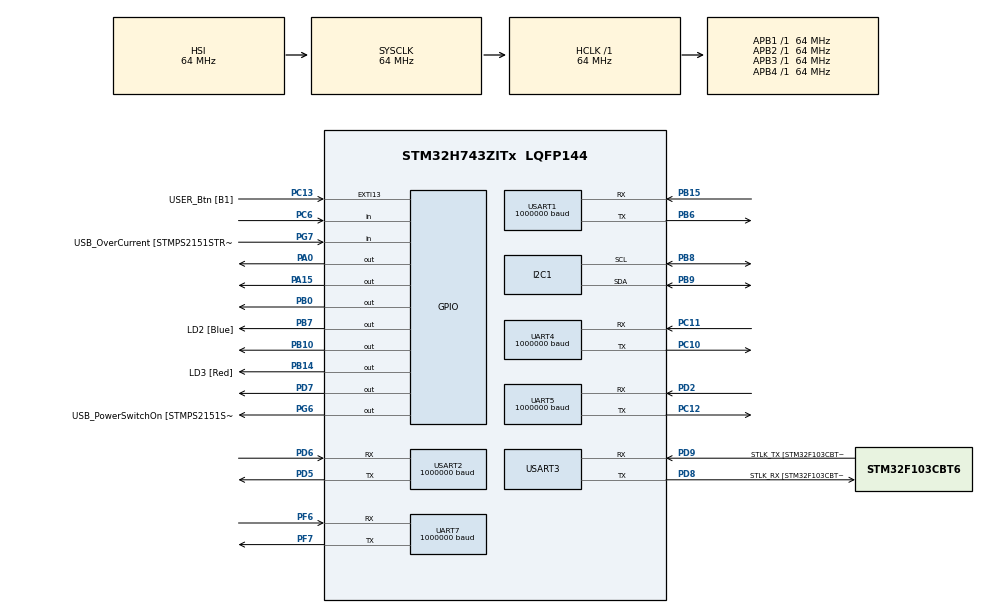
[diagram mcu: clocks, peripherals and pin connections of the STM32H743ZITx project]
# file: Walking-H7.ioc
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Mcu.Family=STM32H7
Mcu.Name=STM32H743ZITx
Mcu.Package=LQFP144
NVIC.PriorityGroup=NVIC_PRIORITYGROUP_4
PA0-WKUP.GPIO_Speed=GPIO_SPEED_FREQ_VERY_HIGH
PA0-WKUP.PinState=GPIO_PIN_SET
PA0-WKUP.Signal=GPIO_Output
PA10.GPIO_Label=USB_ID
PA10.Signal=USB_OTG_FS_ID
PA11.GPIO_Label=USB_DM
PA11.Signal=USB_OTG_FS_DM
PA12.GPIO_Label=USB_DP
PA12.Signal=USB_OTG_FS_DP
PA13.GPIO_Label=TMS
PA13.Mode=Trace_Asynchronous_SW
PA13.Signal=SYS_JTMS-SWDIO
PA14.GPIO_Label=TCK
PA14.Mode=Trace_Asynchronous_SW
PA14.Signal=SYS_JTCK-SWCLK
PA15.GPIO_Speed=GPIO_SPEED_FREQ_VERY_HIGH
PA15.PinState=GPIO_PIN_SET
PA15.Signal=GPIO_Output
PA8.GPIO_Label=USB_SOF [TP1]
PA8.Signal=USB_OTG_FS_SOF
PA9.GPIO_Label=USB_VBUS
PA9.Signal=USB_OTG_FS_VBUS
PB0.GPIO_Speed=GPIO_SPEED_FREQ_VERY_HIGH
PB0.Signal=GPIO_Output
PB10.GPIO_Speed=GPIO_SPEED_FREQ_VERY_HIGH
PB10.Signal=GPIO_Output
PB14.GPIO_Label=LD3 [Red]
PB14.Signal=GPIO_Output
PB15.Mode=Asynchronous
PB15.Signal=USART1_RX
PB3.GPIO_Label=SWO
PB3.Mode=Trace_Asynchronous_SW
PB3.Signal=SYS_JTDO-SWO
PB6.Mode=Asynchronous
PB6.Signal=USART1_TX
PB7.GPIO_Label=LD2 [Blue]
PB7.Signal=GPIO_Output
PB8.Mode=I2C
PB8.Signal=I2C1_SCL
PB9.Mode=I2C
PB9.Signal=I2C1_SDA
PC10.Mode=Asynchronous
PC10.Signal=UART4_TX
PC11.Mode=Asynchronous
PC11.Signal=UART4_RX
PC12.Mode=Asynchronous
PC12.Signal=UART5_TX
PC13.GPIO_Label=USER_Btn [B1]
PC13.Signal=GPXTI13
PC14-OSC32_IN.Signal=RCC_OSC32_IN
PC15-OSC32_OUT.Signal=RCC_OSC32_OUT
PC6.Signal=GPIO_Input
PD2.Mode=Asynchronous
PD2.Signal=UART5_RX
PD5.Mode=Asynchronous
PD5.Signal=USART2_TX
PD6.Mode=Asynchronous
PD6.Signal=USART2_RX
PD7.GPIO_Speed=GPIO_SPEED_FREQ_VERY_HIGH
PD7.Signal=GPIO_Output
PD8.GPIO_Label=STLK_RX [STM32F103CBT6_PA3]
PD8.Mode=Asynchronous
PD8.Signal=USART3_TX
PD9.GPIO_Label=STLK_TX [STM32F103CBT6_PA2]
PD9.Mode=Asynchronous
PD9.Signal=USART3_RX
PF6.Mode=Asynchronous
PF6.Signal=UART7_RX
PF7.Mode=Asynchronous
PF7.Signal=UART7_TX
PG6.GPIO_Label=USB_PowerSwitchOn [STMPS2151STR_EN]
PG6.Signal=GPIO_Output
PG7.GPIO_Label=USB_OverCurrent [STMPS2151STR_FAULT]
PG7.Signal=GPIO_Input
PH0-OSC_IN.GPIO_Label=MCO
PH0-OSC_IN.Signal=RCC_OSC_IN
PH1-OSC_OUT.Signal=RCC_OSC_OUT
ProjectManager.HeapSize=0x200
ProjectManager.StackSize=0x400
ProjectManager.TargetToolchain=SW4STM32
RCC.48MHZClocksFreq_Value=24000000
RCC.ADCFreq_Value=129000000
RCC.AHBFreq_Value=16000000
RCC.APB1CLKDivider=RCC_HCLK_DIV2
RCC.APB1Freq_Value=64000000
RCC.APB1TimFreq_Value=16000000
RCC.APB2Freq_Value=64000000
RCC.APB2TimFreq_Value=16000000
RCC.APB3Freq_Value=64000000
RCC.APB4Freq_Value=64000000
RCC.CortexFreq_Value=64000000
RCC.HCLKFreq_Value=64000000
RCC.HSE_VALUE=25000000
RCC.HSI_VALUE=64000000
RCC.LSE_VALUE=32768
RCC.PLLMUL=RCC_PLL_MUL9
RCC.PRESCALERUSB=RCC_USBCLKSOURCE_PLL_DIV1_5
RCC.SYSCLKFreq_VALUE=64000000
RCC.SYSCLKSourceVirtual=RCC_SYSCLKSOURCE_PLLCLK
RCC.USBFreq_Value=129000000
RCC.VCOOutputFreq_Value=192000000
UART4.BaudRate=1000000
UART4.WordLength=WORDLENGTH_8B
UART5.BaudRate=1000000
UART5.WordLength=WORDLENGTH_8B
UART7.BaudRate=1000000
UART7.WordLength=WORDLENGTH_8B
USART1.BaudRate=1000000
USART1.VirtualMode-Asynchronous=VM_ASYNC
USART1.WordLength=WORDLENGTH_8B
USART2.BaudRate=1000000
USART2.VirtualMode-Asynchronous=VM_ASYNC
USART2.WordLength=WORDLENGTH_8B
USART3.VirtualMode-Asynchronous=VM_ASYNC
USART3.WordLength=WORDLENGTH_8B
board=NUCLEO-H743ZI

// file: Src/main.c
/**
  ******************************************************************************
  * File Name          : main.c
  * Description        : Main program body
  ******************************************************************************
  ** This notice applies to any and all portions of this file
  * that are not between comment pairs USER CODE BEGIN and
  * USER CODE END. Other portions of this file, whether
  * inserted by the user or by software development tools
  * are owned by their respective copyright owners.
  *
  * COPYRIGHT(c) 2018 STMicroelectronics
  *
  * Redistribution and use in source and binary forms, with or without modification,
  * are permitted provided that the following conditions are met:
  *   1. Redistributions of source code must retain the above copyright notice,
  *      this list of conditions and the following disclaimer.
  *   2. Redistributions in binary form must reproduce the above copyright notice,
  *      this list of conditions and the following disclaimer in the documentation
  *      and/or other materials provided with the distribution.
  *   3. Neither the name of STMicroelectronics nor the names of its contributors
  *      may be used to endorse or promote products derived from this software
  *      without specific prior written permission.
  *
  * THIS SOFTWARE IS PROVIDED BY THE COPYRIGHT HOLDERS AND CONTRIBUTORS "AS IS"
  * AND ANY EXPRESS OR IMPLIED WARRANTIES, INCLUDING, BUT NOT LIMITED TO, THE
  * IMPLIED WARRANTIES OF MERCHANTABILITY AND FITNESS FOR A PARTICULAR PURPOSE ARE
  * DISCLAIMED. IN NO EVENT SHALL THE COPYRIGHT HOLDER OR CONTRIBUTORS BE LIABLE
  * FOR ANY DIRECT, INDIRECT, INCIDENTAL, SPECIAL, EXEMPLARY, OR CONSEQUENTIAL
  * DAMAGES (INCLUDING, BUT NOT LIMITED TO, PROCUREMENT OF SUBSTITUTE GOODS OR
  * SERVICES; LOSS OF USE, DATA, OR PROFITS; OR BUSINESS INTERRUPTION) HOWEVER
  * CAUSED AND ON ANY THEORY OF LIABILITY, WHETHER IN CONTRACT, STRICT LIABILITY,
  * OR TORT (INCLUDING NEGLIGENCE OR OTHERWISE) ARISING IN ANY WAY OUT OF THE USE
  * OF THIS SOFTWARE, EVEN IF ADVISED OF THE POSSIBILITY OF SUCH DAMAGE.
  *
  ******************************************************************************
  */

#include "main.h"
#include "stm32h7xx_hal.h"
#include "i2c.h"
#include "usart.h"
#include "gpio.h"

/* USER CODE BEGIN Includes */
/* Motor driver. */
#include "../../Dynamixel_AX-12A_Driver/src/Dynamixel_AX-12A.h"
#include "../../Dynamixel_AX-12A_Driver/src/Dynamixel_AX-12A.c"
#include <stdio.h>

/* Motor Angles. */
#include "../../../../control/soccer-control/angles.h"

#include "MPU6050.h"
/* USER CODE END Includes */

/* USER CODE BEGIN PV */
/* Private variables ---------------------------------------------------------*/
extern const double MOTORANGLES[DIM][SIZE];
//const double MOTORANGLES[12][1001] = {
//		{//1
//				0.044595,0.033301,0.022335,0.011681,0.001322,-0.0087571,-0.018571,-0.028134,-0.03746,-0.046561,-0.05545,-0.064137,-0.072634,-0.08095,-0.089097,-0.097082,-0.10491,-0.1126,-0.12015,-0.12757,-0.13487,-0.14205,-0.14913,-0.15609,-0.16296,-0.16973,-0.17642,-0.18302,-0.18953,-0.19597,-0.20234,-0.20863,-0.21486,-0.22103,-0.22713,-0.23318,-0.23916,-0.2451,-0.25098,-0.25682,-0.2626,-0.26802,-0.27311,-0.27787,-0.28234,-0.28653,-0.29045,-0.29414,-0.29759,-0.30083,-0.30387,-0.30673,-0.3094,-0.31191,-0.31427,-0.31649,-0.31856,-0.32051,-0.32234,-0.32406,-0.32568,-0.32719,-0.32861,-0.32995,-0.33121,-0.33239,-0.33349,-0.33453,-0.33551,-0.33643,-0.33729,-0.3381,-0.33886,-0.33958,-0.34025,-0.34088,-0.34147,-0.34203,-0.34255,-0.34304,-0.34351,-0.34394,-0.34435,-0.34473,-0.34509,-0.34543,-0.34575,-0.34605,-0.34633,-0.34659,-0.33166,-0.31717,-0.30312,-0.28948,-0.27624,-0.26338,-0.2509,-0.23876,-0.22697,-0.2155,-0.20433,-0.19346,-0.18287,-0.17255,-0.16248,-0.15265,-0.14304,-0.13366,-0.12448,-0.11549,-0.10669,-0.098061,-0.089599,-0.081294,-0.073138,-0.065122,-0.057238,-0.049481,-0.041843,-0.034317,-0.026899,-0.019581,-0.012359,-0.0052278,0.0018175,0.0087814,0.015668,0.022482,0.029225,0.035903,0.042518,0.049074,0.055573,0.062017,0.068411,0.074755,0.081052,0.087304,0.093514,0.099682,0.10581,0.11157,0.11697,0.12204,0.1268,0.13127,0.13547,0.13941,0.14311,0.14659,0.14985,0.15329,0.15728,0.16179,0.16681,0.17233,0.17835,0.18485,0.19182,0.19923,0.20707,0.21528,0.22382,0.23262,0.24159,0.25064,0.25964,0.26845,0.27692,0.28488,0.29216,0.29859,0.30402,0.30831,0.31135,0.31307,0.31344,0.31249,0.31026,0.30685,0.30239,0.29702,0.29092,0.28424,0.27717,0.26985,0.26243,0.25505,0.24782,0.24084,0.21473,0.19066,0.16853,0.14823,0.12961,0.11252,0.096813,0.082326,0.0689,0.056376
//		},
//		{//2
//	0.38545,0.39119,0.39712,0.40322,0.40949,0.41591,0.42247,0.42916,0.43597,0.44289,0.44991,0.45701,0.4642,0.47146,0.47878,0.48615,0.49357,0.50102,0.5085,0.51601,0.52353,0.53106,0.53858,0.54611,0.55362,0.56112,0.56859,0.57604,0.58345,0.59082,0.59815,0.60543,0.61266,0.61983,0.62694,0.63398,0.64096,0.64785,0.65468,0.66142,0.66807,0.67422,0.67991,0.68516,0.69002,0.69452,0.69869,0.70256,0.70614,0.70946,0.71255,0.71542,0.71808,0.72056,0.72286,0.725,0.727,0.72886,0.73059,0.73221,0.73371,0.73512,0.73643,0.73766,0.7388,0.73987,0.74087,0.7418,0.74268,0.7435,0.74426,0.74498,0.74565,0.74627,0.74686,0.74741,0.74793,0.74841,0.74886,0.74929,0.74969,0.75006,0.75041,0.75074,0.75105,0.75134,0.75161,0.75186,0.7521,0.75232,0.75932,0.76618,0.77294,0.77963,0.78626,0.79285,0.79941,0.80595,0.81248,0.819,0.82551,0.83202,0.83853,0.84504,0.85153,0.85802,0.8645,0.87096,0.8774,0.88381,0.8902,0.89656,0.90288,0.90915,0.91538,0.92156,0.92768,0.93374,0.93973,0.94566,0.95151,0.95727,0.96296,0.96856,0.97407,0.97948,0.98479,0.99,0.9951,1.0001,1.005,1.0097,1.0144,1.0189,1.0233,1.0276,1.0317,1.0357,1.0396,1.0433,1.0469,1.0501,1.053,1.0556,1.058,1.0601,1.062,1.0637,1.0653,1.0667,1.068,1.0722,1.0821,1.0966,1.1149,1.1361,1.1593,1.1838,1.2087,1.2334,1.2572,1.2796,1.2999,1.3178,1.3325,1.3438,1.3511,1.354,1.3521,1.3453,1.3333,1.316,1.2936,1.2663,1.2345,1.1987,1.1596,1.1178,1.074,1.029,0.98328,0.93749,0.892,0.84716,0.80318,0.76022,0.71841,0.6778,0.63846,0.60045,0.56616,0.53385,0.50368,0.4759,0.45083,0.42887,0.41051,0.39633,0.38697,0.38311
//		},
//		{//3
//				-1.4042,-1.4083,-1.4122,-1.416,-1.4197,-1.4232,-1.4266,-1.4299,-1.4331,-1.4361,-1.439,-1.4418,-1.4445,-1.447,-1.4494,-1.4517,-1.4538,-1.4558,-1.4576,-1.4594,-1.4609,-1.4624,-1.4636,-1.4648,-1.4657,-1.4665,-1.4672,-1.4677,-1.468,-1.4682,-1.4682,-1.468,-1.4677,-1.4672,-1.4665,-1.4657,-1.4646,-1.4634,-1.462,-1.4605,-1.4587,-1.4569,-1.455,-1.453,-1.4511,-1.4492,-1.4472,-1.4453,-1.4435,-1.4417,-1.4399,-1.4382,-1.4365,-1.4349,-1.4333,-1.4318,-1.4304,-1.429,-1.4277,-1.4265,-1.4253,-1.4241,-1.4231,-1.422,-1.421,-1.4201,-1.4192,-1.4184,-1.4176,-1.4168,-1.4161,-1.4154,-1.4148,-1.4142,-1.4136,-1.4131,-1.4126,-1.4121,-1.4116,-1.4112,-1.4108,-1.4104,-1.41,-1.4097,-1.4094,-1.4091,-1.4088,-1.4085,-1.4083,-1.408,-1.4204,-1.4316,-1.4419,-1.4513,-1.4599,-1.4677,-1.4748,-1.4813,-1.4871,-1.4925,-1.4973,-1.5016,-1.5055,-1.5089,-1.5119,-1.5146,-1.5168,-1.5188,-1.5204,-1.5216,-1.5226,-1.5232,-1.5236,-1.5237,-1.5235,-1.523,-1.5222,-1.5212,-1.52,-1.5185,-1.5168,-1.5148,-1.5125,-1.5101,-1.5074,-1.5045,-1.5013,-1.4979,-1.4943,-1.4905,-1.4864,-1.4822,-1.4777,-1.473,-1.468,-1.4629,-1.4575,-1.4519,-1.4461,-1.4401,-1.4339,-1.4278,-1.4219,-1.4163,-1.4108,-1.4056,-1.4005,-1.3957,-1.3911,-1.3866,-1.3824,-1.3844,-1.3975,-1.4203,-1.4511,-1.4885,-1.531,-1.5773,-1.6263,-1.6769,-1.7282,-1.7796,-1.8302,-1.8796,-1.9272,-1.9725,-2.0151,-2.0545,-2.0904,-2.1225,-2.1503,-2.1736,-2.1921,-2.2055,-2.2137,-2.2166,-2.2142,-2.2063,-2.1932,-2.1749,-2.1518,-2.124,-2.0918,-2.0556,-2.0157,-1.9725,-1.9264,-1.8779,-1.8273,-1.7753,-1.7291,-1.6821,-1.6351,-1.5893,-1.5456,-1.5052,-1.4696,-1.4402,-1.4184,-1.4059
//		},
//		{//4
//				1.0187,1.0171,1.0151,1.0128,1.0102,1.0073,1.0042,1.0008,0.99711,0.99322,0.98912,0.98479,0.98027,0.97554,0.97062,0.96551,0.96023,0.95477,0.94915,0.94336,0.93741,0.93131,0.92505,0.91865,0.91211,0.90543,0.89862,0.89167,0.88459,0.87739,0.87006,0.86262,0.85505,0.84738,0.83959,0.83169,0.82368,0.81557,0.80735,0.79904,0.79063,0.78264,0.77506,0.76788,0.76108,0.75464,0.74855,0.74279,0.73734,0.7322,0.72734,0.72275,0.71842,0.71433,0.71048,0.70684,0.70342,0.70018,0.69714,0.69427,0.69157,0.68902,0.68662,0.68436,0.68223,0.68023,0.67834,0.67657,0.6749,0.67332,0.67184,0.67045,0.66914,0.66791,0.66675,0.66565,0.66463,0.66366,0.66275,0.6619,0.66109,0.66034,0.65963,0.65896,0.65833,0.65774,0.65718,0.65666,0.65617,0.6557,0.66105,0.66545,0.66897,0.67167,0.6736,0.67482,0.67537,0.67531,0.67465,0.67346,0.67175,0.66956,0.66692,0.66386,0.66039,0.65655,0.65235,0.64781,0.64296,0.63781,0.63237,0.62667,0.62071,0.6145,0.60807,0.60142,0.59456,0.5875,0.58026,0.57284,0.56524,0.55749,0.54958,0.54152,0.53332,0.52498,0.51652,0.50793,0.49922,0.4904,0.48147,0.47243,0.46329,0.45406,0.44473,0.43532,0.42581,0.41622,0.40655,0.3968,0.38698,0.37769,0.36893,0.36065,0.35284,0.34547,0.33851,0.33196,0.32577,0.31994,0.31445,0.31213,0.31542,0.32366,0.33621,0.35241,0.3717,0.39357,0.41763,0.44354,0.47106,0.50002,0.5303,0.56186,0.59466,0.62871,0.66401,0.70056,0.73832,0.7772,0.81704,0.85757,0.89845,0.93919,0.97923,1.0179,1.0546,1.0886,1.1192,1.146,1.1685,1.1865,1.1998,1.2084,1.2125,1.2123,1.208,1.2001,1.1888,1.1748,1.1629,1.1482,1.1315,1.1134,1.0947,1.0764,1.0591,1.0438,1.0314,1.0228
//		},
//		{//5
//				-0.044595,-0.033301,-0.022335,-0.011681,-0.001322,0.0087571,0.018571,0.028134,0.03746,0.046561,0.05545,0.064137,0.072634,0.08095,0.089097,0.097082,0.10491,0.1126,0.12015,0.12757,0.13487,0.14205,0.14913,0.15609,0.16296,0.16973,0.17642,0.18302,0.18953,0.19597,0.20234,0.20863,0.21486,0.22103,0.22713,0.23318,0.23916,0.2451,0.25098,0.25682,0.2626,0.26802,0.27311,0.27787,0.28234,0.28653,0.29045,0.29414,0.29759,0.30083,0.30387,0.30673,0.3094,0.31191,0.31427,0.31649,0.31856,0.32051,0.32234,0.32406,0.32568,0.32719,0.32861,0.32995,0.33121,0.33239,0.33349,0.33453,0.33551,0.33643,0.33729,0.3381,0.33886,0.33958,0.34025,0.34088,0.34147,0.34203,0.34255,0.34304,0.34351,0.34394,0.34435,0.34473,0.34509,0.34543,0.34575,0.34605,0.34633,0.34659,0.33166,0.31717,0.30312,0.28948,0.27624,0.26338,0.2509,0.23876,0.22697,0.2155,0.20433,0.19346,0.18287,0.17255,0.16248,0.15265,0.14304,0.13366,0.12448,0.11549,0.10669,0.098061,0.089599,0.081294,0.073138,0.065122,0.057238,0.049481,0.041843,0.034317,0.026899,0.019581,0.012359,0.0052278,-0.0018175,-0.0087814,-0.015668,-0.022482,-0.029225,-0.035903,-0.042518,-0.049074,-0.055573,-0.062017,-0.068411,-0.074755,-0.081052,-0.087304,-0.093514,-0.099682,-0.10581,-0.11157,-0.11697,-0.12204,-0.1268,-0.13127,-0.13547,-0.13941,-0.14311,-0.14659,-0.14985,-0.15329,-0.15728,-0.16179,-0.16681,-0.17233,-0.17835,-0.18485,-0.19182,-0.19923,-0.20707,-0.21528,-0.22382,-0.23262,-0.24159,-0.25064,-0.25964,-0.26845,-0.27692,-0.28488,-0.29216,-0.29859,-0.30402,-0.30831,-0.31135,-0.31307,-0.31344,-0.31249,-0.31026,-0.30685,-0.30239,-0.29702,-0.29092,-0.28424,-0.27717,-0.26985,-0.26243,-0.25505,-0.24782,-0.24084,-0.21473,-0.19066,-0.16853,-0.14823,-0.12961,-0.11252,-0.096813,-0.082326,-0.0689,-0.056376
//		},
//		{//6
//				0,0,0,0,0,0,0,0,0,0,0,0,0,0,0,0,0,0,0,0,0,0,0,0,0,0,0,0,0,0,0,0,0,0,0,0,0,0,0,0,0,0,0,0,0,0,0,0,0,0,0,0,0,0,0,0,0,0,0,0,0,0,0,0,0,0,0,0,0,0,0,0,0,0,0,0,0,0,0,0,0,0,0,0,0,0,0,0,0,0,0,0,0,0,0,0,0,0,0,0,0,0,0,0,0,0,0,0,0,0,0,0,0,0,0,0,0,0,0,0,0,0,0,0,0,0,0,0,0,0,0,0,0,0,0,0,0,0,0,0,0,0,0,0,0,0,0,0,0,0,0,0,0,0,0,0,0,0,0,0,0,0,0,0,0,0,0,0,0,0,0,0,0,0,0,0,0,0,0,0,0,0,0,0,0,0,0,0,0,0,0,0,0,0,0,0,0,0,0,0
//		},
//		{//7
//				0,0,0,0,0,0,0,0,0,0,0,0,0,0,0,0,0,0,0,0,0,0,0,0,0,0,0,0,0,0,0,0,0,0,0,0,0,0,0,0,0,0,0,0,0,0,0,0,0,0,0,0,0,0,0,0,0,0,0,0,0,0,0,0,0,0,0,0,0,0,0,0,0,0,0,0,0,0,0,0,0,0,0,0,0,0,0,0,0,0,0,0,0,0,0,0,0,0,0,0,0,0,0,0,0,0,0,0,0,0,0,0,0,0,0,0,0,0,0,0,0,0,0,0,0,0,0,0,0,0,0,0,0,0,0,0,0,0,0,0,0,0,0,0,0,0,0,0,0,0,0,0,0,0,0,0,0,0,0,0,0,0,0,0,0,0,0,0,0,0,0,0,0,0,0,0,0,0,0,0,0,0,0,0,0,0,0,0,0,0,0,0,0,0,0,0,0,0,0,0
//		},
//		{//8
//				-0.20433,-0.19346,-0.18287,-0.17255,-0.16248,-0.15265,-0.14304,-0.13366,-0.12448,-0.11549,-0.10669,-0.098061,-0.089599,-0.081294,-0.073138,-0.065122,-0.057238,-0.049481,-0.041843,-0.034317,-0.026899,-0.019581,-0.012359,-0.0052278,0.0018175,0.0087814,0.015668,0.022482,0.029225,0.035903,0.042518,0.049074,0.055573,0.062017,0.068411,0.074755,0.081052,0.087304,0.093514,0.099682,0.10581,0.11157,0.11697,0.12204,0.1268,0.13127,0.13547,0.13941,0.14311,0.14659,0.14985,0.15329,0.15728,0.16179,0.16681,0.17233,0.17835,0.18485,0.19182,0.19923,0.20707,0.21528,0.22382,0.23262,0.24159,0.25064,0.25964,0.26845,0.27692,0.28488,0.29216,0.29859,0.30402,0.30831,0.31135,0.31307,0.31344,0.31249,0.31026,0.30685,0.30239,0.29702,0.29092,0.28424,0.27717,0.26985,0.26243,0.25505,0.24782,0.24084,0.21473,0.19066,0.16853,0.14823,0.12961,0.11252,0.096813,0.082326,0.0689,0.056376,0.044595,0.033301,0.022335,0.011681,0.001322,-0.0087571,-0.018571,-0.028134,-0.03746,-0.046561,-0.05545,-0.064137,-0.072634,-0.08095,-0.089097,-0.097082,-0.10491,-0.1126,-0.12015,-0.12757,-0.13487,-0.14205,-0.14913,-0.15609,-0.16296,-0.16973,-0.17642,-0.18302,-0.18953,-0.19597,-0.20234,-0.20863,-0.21486,-0.22103,-0.22713,-0.23318,-0.23916,-0.2451,-0.25098,-0.25682,-0.2626,-0.26802,-0.27311,-0.27787,-0.28234,-0.28653,-0.29045,-0.29414,-0.29759,-0.30083,-0.30387,-0.30673,-0.3094,-0.31191,-0.31427,-0.31649,-0.31856,-0.32051,-0.32234,-0.32406,-0.32568,-0.32719,-0.32861,-0.32995,-0.33121,-0.33239,-0.33349,-0.33453,-0.33551,-0.33643,-0.33729,-0.3381,-0.33886,-0.33958,-0.34025,-0.34088,-0.34147,-0.34203,-0.34255,-0.34304,-0.34351,-0.34394,-0.34435,-0.34473,-0.34509,-0.34543,-0.34575,-0.34605,-0.34633,-0.34659,-0.33166,-0.31717,-0.30312,-0.28948,-0.27624,-0.26338,-0.2509,-0.23876,-0.22697,-0.2155
//		},
//		{//9
//				0.67175,0.66956,0.66692,0.66386,0.66039,0.65655,0.65235,0.64781,0.64296,0.63781,0.63237,0.62667,0.62071,0.6145,0.60807,0.60142,0.59456,0.5875,0.58026,0.57284,0.56524,0.55749,0.54958,0.54152,0.53332,0.52498,0.51652,0.50793,0.49922,0.4904,0.48147,0.47243,0.46329,0.45406,0.44473,0.43532,0.42581,0.41622,0.40655,0.3968,0.38698,0.37769,0.36893,0.36065,0.35284,0.34547,0.33851,0.33196,0.32577,0.31994,0.31445,0.31213,0.31542,0.32366,0.33621,0.35241,0.3717,0.39357,0.41763,0.44354,0.47106,0.50002,0.5303,0.56186,0.59466,0.62871,0.66401,0.70056,0.73832,0.7772,0.81704,0.85757,0.89845,0.93919,0.97923,1.0179,1.0546,1.0886,1.1192,1.146,1.1685,1.1865,1.1998,1.2084,1.2125,1.2123,1.208,1.2001,1.1888,1.1748,1.1629,1.1482,1.1315,1.1134,1.0947,1.0764,1.0591,1.0438,1.0314,1.0228,1.0187,1.0171,1.0151,1.0128,1.0102,1.0073,1.0042,1.0008,0.99711,0.99322,0.98912,0.98479,0.98027,0.97554,0.97062,0.96551,0.96023,0.95477,0.94915,0.94336,0.93741,0.93131,0.92505,0.91865,0.91211,0.90543,0.89862,0.89167,0.88459,0.87739,0.87006,0.86262,0.85505,0.84738,0.83959,0.83169,0.82368,0.81557,0.80735,0.79904,0.79063,0.78264,0.77506,0.76788,0.76108,0.75464,0.74855,0.74279,0.73734,0.7322,0.72734,0.72275,0.71842,0.71433,0.71048,0.70684,0.70342,0.70018,0.69714,0.69427,0.69157,0.68902,0.68662,0.68436,0.68223,0.68023,0.67834,0.67657,0.6749,0.67332,0.67184,0.67045,0.66914,0.66791,0.66675,0.66565,0.66463,0.66366,0.66275,0.6619,0.66109,0.66034,0.65963,0.65896,0.65833,0.65774,0.65718,0.65666,0.65617,0.6557,0.66105,0.66545,0.66897,0.67167,0.6736,0.67482,0.67537,0.67531,0.67465,0.67346
//		},
//		{//10
//				-1.4973,-1.5016,-1.5055,-1.5089,-1.5119,-1.5146,-1.5168,-1.5188,-1.5204,-1.5216,-1.5226,-1.5232,-1.5236,-1.5237,-1.5235,-1.523,-1.5222,-1.5212,-1.52,-1.5185,-1.5168,-1.5148,-1.5125,-1.5101,-1.5074,-1.5045,-1.5013,-1.4979,-1.4943,-1.4905,-1.4864,-1.4822,-1.4777,-1.473,-1.468,-1.4629,-1.4575,-1.4519,-1.4461,-1.4401,-1.4339,-1.4278,-1.4219,-1.4163,-1.4108,-1.4056,-1.4005,-1.3957,-1.3911,-1.3866,-1.3824,-1.3844,-1.3975,-1.4203,-1.4511,-1.4885,-1.531,-1.5773,-1.6263,-1.6769,-1.7282,-1.7796,-1.8302,-1.8796,-1.9272,-1.9725,-2.0151,-2.0545,-2.0904,-2.1225,-2.1503,-2.1736,-2.1921,-2.2055,-2.2137,-2.2166,-2.2142,-2.2063,-2.1932,-2.1749,-2.1518,-2.124,-2.0918,-2.0556,-2.0157,-1.9725,-1.9264,-1.8779,-1.8273,-1.7753,-1.7291,-1.6821,-1.6351,-1.5893,-1.5456,-1.5052,-1.4696,-1.4402,-1.4184,-1.4059,-1.4042,-1.4083,-1.4122,-1.416,-1.4197,-1.4232,-1.4266,-1.4299,-1.4331,-1.4361,-1.439,-1.4418,-1.4445,-1.447,-1.4494,-1.4517,-1.4538,-1.4558,-1.4576,-1.4594,-1.4609,-1.4624,-1.4636,-1.4648,-1.4657,-1.4665,-1.4672,-1.4677,-1.468,-1.4682,-1.4682,-1.468,-1.4677,-1.4672,-1.4665,-1.4657,-1.4646,-1.4634,-1.462,-1.4605,-1.4587,-1.4569,-1.455,-1.453,-1.4511,-1.4492,-1.4472,-1.4453,-1.4435,-1.4417,-1.4399,-1.4382,-1.4365,-1.4349,-1.4333,-1.4318,-1.4304,-1.429,-1.4277,-1.4265,-1.4253,-1.4241,-1.4231,-1.422,-1.421,-1.4201,-1.4192,-1.4184,-1.4176,-1.4168,-1.4161,-1.4154,-1.4148,-1.4142,-1.4136,-1.4131,-1.4126,-1.4121,-1.4116,-1.4112,-1.4108,-1.4104,-1.41,-1.4097,-1.4094,-1.4091,-1.4088,-1.4085,-1.4083,-1.408,-1.4204,-1.4316,-1.4419,-1.4513,-1.4599,-1.4677,-1.4748,-1.4813,-1.4871,-1.4925
//		},
//		{//11
//				0.82551,0.83202,0.83853,0.84504,0.85153,0.85802,0.8645,0.87096,0.8774,0.88381,0.8902,0.89656,0.90288,0.90915,0.91538,0.92156,0.92768,0.93374,0.93973,0.94566,0.95151,0.95727,0.96296,0.96856,0.97407,0.97948,0.98479,0.99,0.9951,1.0001,1.005,1.0097,1.0144,1.0189,1.0233,1.0276,1.0317,1.0357,1.0396,1.0433,1.0469,1.0501,1.053,1.0556,1.058,1.0601,1.062,1.0637,1.0653,1.0667,1.068,1.0722,1.0821,1.0966,1.1149,1.1361,1.1593,1.1838,1.2087,1.2334,1.2572,1.2796,1.2999,1.3178,1.3325,1.3438,1.3511,1.354,1.3521,1.3453,1.3333,1.316,1.2936,1.2663,1.2345,1.1987,1.1596,1.1178,1.074,1.029,0.98328,0.93749,0.892,0.84716,0.80318,0.76022,0.71841,0.6778,0.63846,0.60045,0.56616,0.53385,0.50368,0.4759,0.45083,0.42887,0.41051,0.39633,0.38697,0.38311,0.38545,0.39119,0.39712,0.40322,0.40949,0.41591,0.42247,0.42916,0.43597,0.44289,0.44991,0.45701,0.4642,0.47146,0.47878,0.48615,0.49357,0.50102,0.5085,0.51601,0.52353,0.53106,0.53858,0.54611,0.55362,0.56112,0.56859,0.57604,0.58345,0.59082,0.59815,0.60543,0.61266,0.61983,0.62694,0.63398,0.64096,0.64785,0.65468,0.66142,0.66807,0.67422,0.67991,0.68516,0.69002,0.69452,0.69869,0.70256,0.70614,0.70946,0.71255,0.71542,0.71808,0.72056,0.72286,0.725,0.727,0.72886,0.73059,0.73221,0.73371,0.73512,0.73643,0.73766,0.7388,0.73987,0.74087,0.7418,0.74268,0.7435,0.74426,0.74498,0.74565,0.74627,0.74686,0.74741,0.74793,0.74841,0.74886,0.74929,0.74969,0.75006,0.75041,0.75074,0.75105,0.75134,0.75161,0.75186,0.7521,0.75232,0.75932,0.76618,0.77294,0.77963,0.78626,0.79285,0.79941,0.80595,0.81248,0.819
//		},
//		{//12
//				0.20433,0.19346,0.18287,0.17255,0.16248,0.15265,0.14304,0.13366,0.12448,0.11549,0.10669,0.098061,0.089599,0.081294,0.073138,0.065122,0.057238,0.049481,0.041843,0.034317,0.026899,0.019581,0.012359,0.0052278,-0.0018175,-0.0087814,-0.015668,-0.022482,-0.029225,-0.035903,-0.042518,-0.049074,-0.055573,-0.062017,-0.068411,-0.074755,-0.081052,-0.087304,-0.093514,-0.099682,-0.10581,-0.11157,-0.11697,-0.12204,-0.1268,-0.13127,-0.13547,-0.13941,-0.14311,-0.14659,-0.14985,-0.15329,-0.15728,-0.16179,-0.16681,-0.17233,-0.17835,-0.18485,-0.19182,-0.19923,-0.20707,-0.21528,-0.22382,-0.23262,-0.24159,-0.25064,-0.25964,-0.26845,-0.27692,-0.28488,-0.29216,-0.29859,-0.30402,-0.30831,-0.31135,-0.31307,-0.31344,-0.31249,-0.31026,-0.30685,-0.30239,-0.29702,-0.29092,-0.28424,-0.27717,-0.26985,-0.26243,-0.25505,-0.24782,-0.24084,-0.21473,-0.19066,-0.16853,-0.14823,-0.12961,-0.11252,-0.096813,-0.082326,-0.0689,-0.056376,-0.044595,-0.033301,-0.022335,-0.011681,-0.001322,0.0087571,0.018571,0.028134,0.03746,0.046561,0.05545,0.064137,0.072634,0.08095,0.089097,0.097082,0.10491,0.1126,0.12015,0.12757,0.13487,0.14205,0.14913,0.15609,0.16296,0.16973,0.17642,0.18302,0.18953,0.19597,0.20234,0.20863,0.21486,0.22103,0.22713,0.23318,0.23916,0.2451,0.25098,0.25682,0.2626,0.26802,0.27311,0.27787,0.28234,0.28653,0.29045,0.29414,0.29759,0.30083,0.30387,0.30673,0.3094,0.31191,0.31427,0.31649,0.31856,0.32051,0.32234,0.32406,0.32568,0.32719,0.32861,0.32995,0.33121,0.33239,0.33349,0.33453,0.33551,0.33643,0.33729,0.3381,0.33886,0.33958,0.34025,0.34088,0.34147,0.34203,0.34255,0.34304,0.34351,0.34394,0.34435,0.34473,0.34509,0.34543,0.34575,0.34605,0.34633,0.34659,0.33166,0.31717,0.30312,0.28948,0.27624,0.26338,0.2509,0.23876,0.22697,0.2155
//		}
//};

const enum motorNames {MOTOR1, MOTOR2, MOTOR3, MOTOR4, MOTOR5,
					   MOTOR6, MOTOR7, MOTOR8, MOTOR9, MOTOR10,
					   MOTOR11, MOTOR12, MOTOR13, MOTOR14, MOTOR15,
					   MOTOR16, MOTOR17, MOTOR18
};

const double PI = 3.141592654;

Dynamixel_HandleTypeDef Motor1;
Dynamixel_HandleTypeDef Motor2;
Dynamixel_HandleTypeDef Motor3;
Dynamixel_HandleTypeDef Motor4;
Dynamixel_HandleTypeDef Motor5;
Dynamixel_HandleTypeDef Motor6;
Dynamixel_HandleTypeDef Motor7;
Dynamixel_HandleTypeDef Motor8;
Dynamixel_HandleTypeDef Motor9;
Dynamixel_HandleTypeDef Motor10;
Dynamixel_HandleTypeDef Motor11;
Dynamixel_HandleTypeDef Motor12;
Dynamixel_HandleTypeDef Motor13;
Dynamixel_HandleTypeDef Motor14;
Dynamixel_HandleTypeDef Motor15;
Dynamixel_HandleTypeDef Motor16;
Dynamixel_HandleTypeDef Motor17;
Dynamixel_HandleTypeDef Motor18;

MPU6050_HandleTypeDef IMUdata;

int8_t output_buffer[6];
int8_t output_buffer_2[6];
/* USER CODE END PV */

void SystemClock_Config(void);

/* USER CODE BEGIN PFP */
/* Private function prototypes -----------------------------------------------*/
void integrate(double * collector, double value) {
	*collector += value * 0.01;
}

double derivate(double last, double current) {
	return (current - last) / 0.01;
}

double PID(double value, double * collector, double * last, double kp, double ki, double kd) {
	integrate(collector, value);
	double output = kp * value + ki * (*collector) + kd * derivate(*last, value);
	*last = value;
	return output;
}
/* USER CODE END PFP */

/* USER CODE BEGIN 0 */
void StartIMUtask()
{

  /* USER CODE BEGIN StartIMUtask */
    uint8_t output_buffer[6];
    uint8_t output_buffer_2[6];
    MPU6050_HandleTypeDef IMUdata;
    IMUdata._I2C_Handle = &hi2c1;
    uint16_t test=5;
    MPU6050_RESET_SENSOR_REG(IMUdata);
    MPU6050_init(&IMUdata);

  /* Infinite loop */
  for(;;)
  {
	  MPU6050_READ_DATA(&IMUdata, MPU6050_RA_ACCEL_XOUT_H,output_buffer);
	  			  	uint16_t Xa = abs((int16_t)(output_buffer[0]<<8|output_buffer[1]));
	  			  	uint16_t Ya = abs((int16_t)(output_buffer[2]<<8|output_buffer[3]));
	  			  	uint16_t Za = abs((int16_t)(output_buffer[4]<<8|output_buffer[5]));

	  			  	//Now read the gyroscope values:

	  				MPU6050_READ_DATA(&IMUdata, MPU6050_RA_GYRO_XOUT_H,output_buffer_2);
	  				uint16_t Xg = abs((int16_t)(output_buffer_2[0]<<8|output_buffer_2[1]));
	  				uint16_t Yg = abs((int16_t)(output_buffer_2[2]<<8|output_buffer_2[3]));
	  				uint16_t Zg = abs((int16_t)(output_buffer_2[4]<<8|output_buffer_2[5]));

	  				//Now store in struct:
	  				IMUdata._X_ACCEL = Xa;
	  				IMUdata._Y_ACCEL = Ya;
	  				IMUdata._Z_ACCEL = Za;

	  				IMUdata._X_GYRO = Xg;
	  				IMUdata._Y_GYRO = Yg;
	  				IMUdata._Z_GYRO = Zg;

	  				//TEST: Read a specific register

	  				//Now enqueue the struct
	  				//NOTE: determine how large the queue should be

	  				//xQueueSend( IMUqueueHandle, &IMUdata, 1000);
	  				HAL_UART_Transmit(&huart3, &Xg, 2, 10);
	  				//HAL_UART_Transmit(&huart3, &test, 2, 10);
	  				HAL_Delay(1000);
  }
  /* USER CODE END StartIMUtask */
}
void getIMU(){
	/* USER CODE BEGIN StartIMUtask */

	    uint16_t test=5;
		  MPU6050_READ_DATA(&IMUdata, MPU6050_RA_ACCEL_XOUT_H,output_buffer);
		  			  	int16_t Xa = (int16_t)((output_buffer[0]<<8|output_buffer[1]));
		  			  	int16_t Ya = (int16_t)((output_buffer[2]<<8|output_buffer[3]));
		  			  	int16_t Za = (int16_t)((output_buffer[4]<<8|output_buffer[5]));

		  			  	//Now read the gyroscope values:

		  				MPU6050_READ_DATA(&IMUdata, MPU6050_RA_GYRO_XOUT_H,output_buffer_2);
		  				int16_t Xg = (int16_t)((output_buffer_2[0]<<8|output_buffer_2[1]));
		  				int16_t Yg = (int16_t)((output_buffer_2[2]<<8|output_buffer_2[3]));
		  				int16_t Zg = (int16_t)((output_buffer_2[4]<<8|output_buffer_2[5]));

		  				//Now store in struct:
		  				IMUdata._X_ACCEL = Xa;
		  				IMUdata._Y_ACCEL = Ya;
		  				IMUdata._Z_ACCEL = Za;

		  				IMUdata._X_GYRO = Xg;
		  				IMUdata._Y_GYRO = Yg;
		  				IMUdata._Z_GYRO = Zg;

		  				//TEST: Read a specific register

		  				//Now enqueue the struct
		  				//NOTE: determine how large the queue should be

		  				//xQueueSend( IMUqueueHandle, &IMUdata, 1000);
//		  				HAL_UART_Transmit(&huart3, &Xa, 2, 10);
		  				//HAL_UART_Transmit(&huart3, &test, 2, 10);
//		  				HAL_Delay(100);
}

/* USER CODE END 0 */

int main(void)
{

  /* MCU Configuration----------------------------------------------------------*/

  /* Reset of all peripherals, Initializes the Flash interface and the Systick. */
  HAL_Init();

  /* Configure the system clock */
  SystemClock_Config();

  /* Initialize all configured peripherals */
  MX_GPIO_Init();
  MX_UART7_Init();
  MX_UART4_Init();
  MX_USART1_UART_Init();
  MX_USART2_UART_Init();
  MX_UART5_Init();
  MX_I2C1_Init();
  MX_USART3_UART_Init();

  /* USER CODE BEGIN 2 */
//  char a = 0;
//  for(int i = 0; i < 20; i++){
//	  HAL_UART_Transmit(&huart3, &a, 1, 10);
//	  HAL_Delay(500);
//  }
//  a = 0xAA;
//  HAL_UART_Transmit(&huart3, &a, 1, 10);
//  HAL_Delay(100);
  // StartIMUtask();
//  while(1){
//	  HAL_UART_Transmit(&huart3, "cv", 2, 10);
//	  HAL_Delay(100);
//  }
  HAL_Delay(1000);
  IMUdata._I2C_Handle = &hi2c1;
  MPU6050_RESET_SENSOR_REG(&IMUdata);
  HAL_Delay(1000);
  MPU6050_init(&IMUdata);
  HAL_Delay(1000);
//  while(1){
//	  HAL_Delay(100);
//	  getIMU();
//	  char zz[2];
//	  zz[1] = IMUdata._X_ACCEL & 0xFF;
//	  zz[0] = IMUdata._X_ACCEL >> 8;
//	  HAL_UART_Transmit(&huart3, (uint8_t *)zz, 2, 10);
//  }
  Dynamixel_Init(&Motor1, 1, &huart2, GPIOD, GPIO_PIN_7);
  Dynamixel_Init(&Motor2, 2, &huart2, GPIOD, GPIO_PIN_7);
  Dynamixel_Init(&Motor3, 3, &huart2, GPIOD, GPIO_PIN_7);
  Dynamixel_Init(&Motor4, 4, &huart1, GPIOB, GPIO_PIN_10);
  Dynamixel_Init(&Motor5, 5, &huart1, GPIOB, GPIO_PIN_10);
  Dynamixel_Init(&Motor6, 6, &huart1, GPIOB, GPIO_PIN_10);
  Dynamixel_Init(&Motor7, 7, &huart7, GPIOA, GPIO_PIN_15);
  Dynamixel_Init(&Motor8, 8, &huart7, GPIOA, GPIO_PIN_15);
  Dynamixel_Init(&Motor9, 9, &huart7, GPIOA, GPIO_PIN_15);
  Dynamixel_Init(&Motor10, 10, &huart5, GPIOB, GPIO_PIN_0);
  Dynamixel_Init(&Motor11, 11, &huart5, GPIOB, GPIO_PIN_0);
  Dynamixel_Init(&Motor12, 12, &huart5, GPIOB, GPIO_PIN_0);
  Dynamixel_Init(&Motor13, 13, &huart4, GPIOA, GPIO_PIN_0);
  Dynamixel_Init(&Motor14, 14, &huart4, GPIOA, GPIO_PIN_0);
  Dynamixel_Init(&Motor15, 15, &huart4, GPIOA, GPIO_PIN_0);
  Dynamixel_Init(&Motor16, 16, &huart4, GPIOA, GPIO_PIN_0);
  Dynamixel_Init(&Motor17, 17, &huart4, GPIOA, GPIO_PIN_0);
  Dynamixel_Init(&Motor18, 18, &huart4, GPIOA, GPIO_PIN_0);

  Dynamixel_HandleTypeDef* arrDynamixel[18];
  arrDynamixel[0] = &Motor1;
  arrDynamixel[1] = &Motor2;
  arrDynamixel[2] = &Motor3;
  arrDynamixel[3] = &Motor4;
  arrDynamixel[4] = &Motor5;
  arrDynamixel[5] = &Motor6;
  arrDynamixel[6] = &Motor7;
  arrDynamixel[7] = &Motor8;
  arrDynamixel[8] = &Motor9;
  arrDynamixel[9] = &Motor10;
  arrDynamixel[10] = &Motor11;
  arrDynamixel[11] = &Motor12;
  arrDynamixel[12] = &Motor13;
  arrDynamixel[13] = &Motor14;
  arrDynamixel[14] = &Motor15;
  arrDynamixel[15] = &Motor16;
  arrDynamixel[16] = &Motor17;
  arrDynamixel[17] = &Motor18;

  for(int i = 0; i < 18; i++){
	  Dynamixel_SetGoalVelocity(arrDynamixel[i], 100);
	  Dynamixel_SetCWComplianceSlope(arrDynamixel[i], 4);
	  Dynamixel_SetCCWComplianceSlope(arrDynamixel[i], 4);
  }

//  Dynamixel_SetCWComplianceSlope(arrDynamixel[MOTOR8], 1);
//  Dynamixel_SetCCWComplianceSlope(arrDynamixel[MOTOR8], 1);
  /* USER CODE END 2 */

  /* Infinite loop */
  while (1)
  {

  /* USER CODE BEGIN 3 */

	  double intg_ax = 0.0, intg_ay = 0.0, intg_az = 0.0;
	  double intg_gx = 0.0, intg_gy = 0.0, intg_gz = 0.0;
	  double intg_qx = 0.0, intg_qy = 0.0, intg_qz = 0.0;
	  double last_ax = 0.0, last_ay = 0.0, last_az = 0.0;
	  double last_qx = 0.0, last_qy = 0.0, last_qz = 0.0;
	  double kp_ax = -10.0, kp_ay = -8.0, kp_az = 0.0, kp_qx = -500.0, kp_qy = 0.0, kp_qz = 0.0;
	  double ki_ax = -1.0, ki_ay = -4.0, ki_az = 0.0, ki_qx = -500.0, ki_qy = 0.0, ki_qz = 0.0;
	  double kd_ax = -0.01, kd_ay = -0.00, kd_az = 0.0, kd_qx = -1.0, kd_qy = 0.0, kd_qz = 0.0;
	  double motor_perturb[12];

	  const double MAX_PERTURB = 15;
	  for(int j = 0; j < SIZE; j ++){
		  getIMU();

		  integrate(&intg_gx, ((double)IMUdata._X_GYRO)/32768.0);

		  double PID_ax = 0;//PID(((double)IMUdata._X_ACCEL)/32768.0, &intg_ax, &last_ax, kp_ax, ki_ax, kd_ax);
		  double PID_ay = 0;//PID(((double)IMUdata._Y_ACCEL)/32768.0, &intg_ay, &last_ay, kp_ay, ki_ay, kd_ay);
		  double PID_qx = PID(intg_gx, &intg_qx, &last_qx, kp_qx, ki_qx, kd_qx);

		  motor_perturb[MOTOR1]  =  ((PID_ax < MAX_PERTURB ? PID_ax : MAX_PERTURB) > -MAX_PERTURB ? PID_ax : -MAX_PERTURB);
		  motor_perturb[MOTOR2]  = -((PID_ay - PID_qx < MAX_PERTURB ? PID_ay - PID_qx : MAX_PERTURB) > -MAX_PERTURB ? PID_ay - PID_qx : -MAX_PERTURB);
		  motor_perturb[MOTOR3]  = 0;
		  motor_perturb[MOTOR4]  = -((PID_ay - PID_qx < MAX_PERTURB ? PID_ay - PID_qx : MAX_PERTURB) > -MAX_PERTURB ? PID_ay - PID_qx : -MAX_PERTURB);
		  motor_perturb[MOTOR5]  =  ((PID_ax < MAX_PERTURB ? PID_ax : MAX_PERTURB) > -MAX_PERTURB ? PID_ax : -MAX_PERTURB);
		  motor_perturb[MOTOR6]  = 0;
		  motor_perturb[MOTOR7]  = 0;
		  motor_perturb[MOTOR8]  =  ((PID_ax < MAX_PERTURB ? PID_ax : MAX_PERTURB) > -MAX_PERTURB ? PID_ax : -MAX_PERTURB);
		  motor_perturb[MOTOR9]  =  ((PID_ay - PID_qx < MAX_PERTURB ? PID_ay - PID_qx : MAX_PERTURB) > -MAX_PERTURB ? PID_ay - PID_qx : -MAX_PERTURB);
		  motor_perturb[MOTOR10] = 0;
		  motor_perturb[MOTOR11] =  ((PID_ay - PID_qx < MAX_PERTURB ? PID_ay - PID_qx : MAX_PERTURB) > -MAX_PERTURB ? PID_ay - PID_qx : -MAX_PERTURB);
		  motor_perturb[MOTOR12] =  ((PID_ax < MAX_PERTURB ? PID_ax : MAX_PERTURB) > -MAX_PERTURB ? PID_ax : -MAX_PERTURB);

		  for(int i = MOTOR1; i <= MOTOR12; i++){ // NB: i begins at 0 (i.e. Motor1 corresponds to i = 0)
			  switch(i){
				  case MOTOR1:	  Dynamixel_SetGoalPosition(arrDynamixel[i], -1*MOTORANGLES[i][j]*180/PI + 150 - 1 + motor_perturb[MOTOR1]);
								  break;
				  case MOTOR2:	  Dynamixel_SetGoalPosition(arrDynamixel[i], -1*MOTORANGLES[i][j]*180/PI + 150 + 3 + motor_perturb[MOTOR2]);
								  break;
				  case MOTOR3:	  Dynamixel_SetGoalPosition(arrDynamixel[i], -1*MOTORANGLES[i][j]*180/PI + 150 + 1 + motor_perturb[MOTOR3]);
								  break;
				  case MOTOR4:	  Dynamixel_SetGoalPosition(arrDynamixel[i], MOTORANGLES[i][j]*180/PI + 150 + 2 + motor_perturb[MOTOR4]);
								  break;
				  case MOTOR5:	  Dynamixel_SetGoalPosition(arrDynamixel[i], MOTORANGLES[i][j]*180/PI + 150 - 0 + motor_perturb[MOTOR5]);
								  break;
				  case MOTOR6:	  Dynamixel_SetGoalPosition(arrDynamixel[i], -1*MOTORANGLES[i][j]*180/PI + 150 + 0 + motor_perturb[MOTOR6]);
								  break;
				  case MOTOR7:	  Dynamixel_SetGoalPosition(arrDynamixel[i], MOTORANGLES[i][j]*180/PI + 150 + 0 + motor_perturb[MOTOR7]);
								  break;
				  case MOTOR8:	  Dynamixel_SetGoalPosition(arrDynamixel[i], MOTORANGLES[i][j]*180/PI + 150 - 3 + motor_perturb[MOTOR8]);
								  break;
				  case MOTOR9:	  Dynamixel_SetGoalPosition(arrDynamixel[i], -1*MOTORANGLES[i][j]*180/PI + 150 - 0 + motor_perturb[MOTOR9]);
								  break;
				  case MOTOR10:	  Dynamixel_SetGoalPosition(arrDynamixel[i], MOTORANGLES[i][j]*180/PI + 150 + 4 + motor_perturb[MOTOR10]);
								  break;
				  case MOTOR11:   Dynamixel_SetGoalPosition(arrDynamixel[i], MOTORANGLES[i][j]*180/PI + 150 + 1 + motor_perturb[MOTOR11]);
								  break;
				  case MOTOR12:	  Dynamixel_SetGoalPosition(arrDynamixel[i], -1*MOTORANGLES[i][j]*180/PI + 150 + 3 + motor_perturb[MOTOR12]);
								  break;
			  }
		  }
		  HAL_Delay(10); // Default from Lukas: 10
	  }
  }
  /* USER CODE END 3 */

}

/** System Clock Configuration
*/
void SystemClock_Config(void)
{

  RCC_OscInitTypeDef RCC_OscInitStruct;
  RCC_ClkInitTypeDef RCC_ClkInitStruct;
  RCC_PeriphCLKInitTypeDef PeriphClkInitStruct;

    /**Supply configuration update enable
    */
  MODIFY_REG(PWR->CR3, PWR_CR3_SCUEN, 0);

    /**Configure the main internal regulator output voltage
    */
  __HAL_PWR_VOLTAGESCALING_CONFIG(PWR_REGULATOR_VOLTAGE_SCALE1);

  while ((PWR->D3CR & (PWR_D3CR_VOSRDY)) != PWR_D3CR_VOSRDY)
  {

  }
    /**Initializes the CPU, AHB and APB busses clocks
    */
  RCC_OscInitStruct.OscillatorType = RCC_OSCILLATORTYPE_HSI;
  RCC_OscInitStruct.HSIState = RCC_HSI_DIV1;
  RCC_OscInitStruct.HSICalibrationValue = 16;
  RCC_OscInitStruct.PLL.PLLState = RCC_PLL_NONE;
  if (HAL_RCC_OscConfig(&RCC_OscInitStruct) != HAL_OK)
  {
    _Error_Handler(__FILE__, __LINE__);
  }

    /**Initializes the CPU, AHB and APB busses clocks
    */
  RCC_ClkInitStruct.ClockType = RCC_CLOCKTYPE_HCLK|RCC_CLOCKTYPE_SYSCLK
                              |RCC_CLOCKTYPE_PCLK1|RCC_CLOCKTYPE_PCLK2
                              |RCC_CLOCKTYPE_D3PCLK1|RCC_CLOCKTYPE_D1PCLK1;
  RCC_ClkInitStruct.SYSCLKSource = RCC_SYSCLKSOURCE_HSI;
  RCC_ClkInitStruct.SYSCLKDivider = RCC_SYSCLK_DIV1;
  RCC_ClkInitStruct.AHBCLKDivider = RCC_HCLK_DIV1;
  RCC_ClkInitStruct.APB3CLKDivider = RCC_APB3_DIV1;
  RCC_ClkInitStruct.APB1CLKDivider = RCC_APB1_DIV1;
  RCC_ClkInitStruct.APB2CLKDivider = RCC_APB2_DIV1;
  RCC_ClkInitStruct.APB4CLKDivider = RCC_APB4_DIV1;

  if (HAL_RCC_ClockConfig(&RCC_ClkInitStruct, FLASH_LATENCY_0) != HAL_OK)
  {
    _Error_Handler(__FILE__, __LINE__);
  }

  PeriphClkInitStruct.PeriphClockSelection = RCC_PERIPHCLK_USART3|RCC_PERIPHCLK_USART2
                              |RCC_PERIPHCLK_UART4|RCC_PERIPHCLK_UART7
                              |RCC_PERIPHCLK_USART1|RCC_PERIPHCLK_UART5
                              |RCC_PERIPHCLK_I2C1;
  PeriphClkInitStruct.Usart234578ClockSelection = RCC_USART234578CLKSOURCE_D2PCLK1;
  PeriphClkInitStruct.Usart16ClockSelection = RCC_USART16CLKSOURCE_D2PCLK2;
  PeriphClkInitStruct.I2c123ClockSelection = RCC_I2C123CLKSOURCE_D2PCLK1;
  if (HAL_RCCEx_PeriphCLKConfig(&PeriphClkInitStruct) != HAL_OK)
  {
    _Error_Handler(__FILE__, __LINE__);
  }

    /**Configure the Systick interrupt time
    */
  HAL_SYSTICK_Config(SystemCoreClock/1000);

    /**Configure the Systick
    */
  HAL_SYSTICK_CLKSourceConfig(SYSTICK_CLKSOURCE_HCLK);

  /* SysTick_IRQn interrupt configuration */
  HAL_NVIC_SetPriority(SysTick_IRQn, 0, 0);
}

void _Error_Handler(char * file, int line)
{
  while(1)
  {
  }
}

/************************ (C) COPYRIGHT STMicroelectronics *****END OF FILE****/
